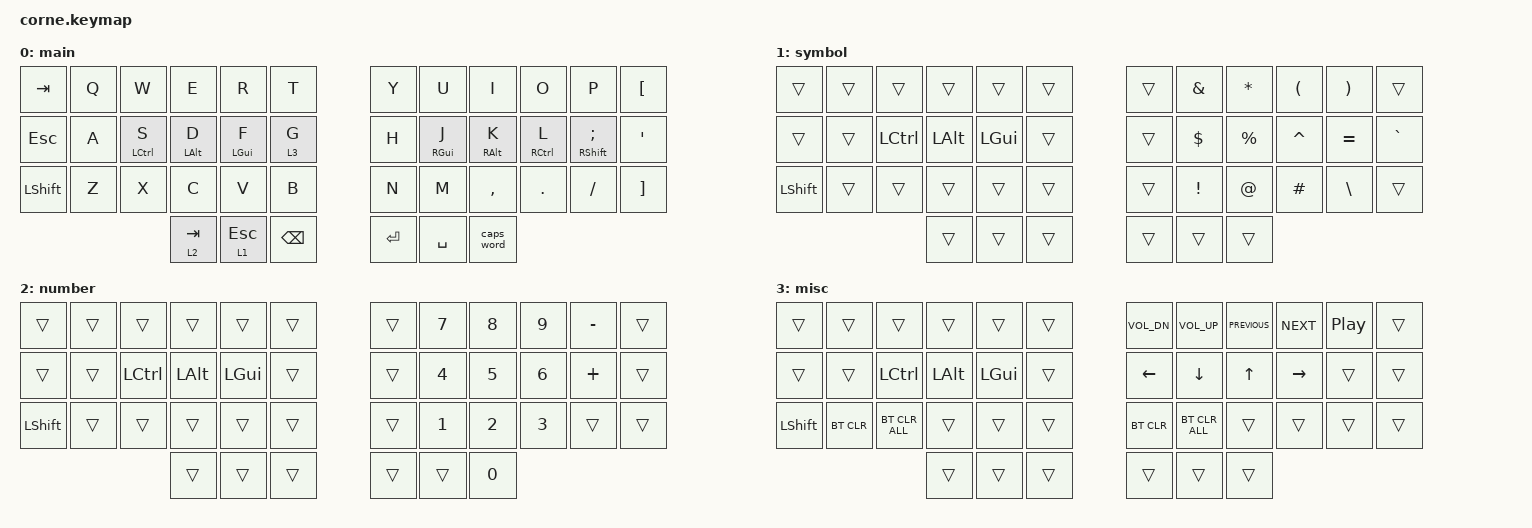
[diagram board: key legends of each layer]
/*
 * Copyright (c) 2020 The ZMK Contributors
 *
 * SPDX-License-Identifier: MIT
 */

#include <behaviors.dtsi>
#include <dt-bindings/zmk/bt.h>
#include <dt-bindings/zmk/keys.h>

&mt {
    flavor = "tap-preferred";
    tapping_term_ms = <200>;
};

/ {
    keymap {
        compatible = "zmk,keymap";

        main {
            bindings = <
&kp TAB    &kp Q  &kp W        &kp E           &kp R         &kp T            &kp Y    &kp U       &kp I       &kp O        &kp P            &kp LEFT_BRACKET
&kp ESC    &kp A  &mt LCTRL S  &mt LALT D      &mt LGUI F    &lt 3 G          &kp H    &mt RGUI J  &mt RALT K  &mt RCTRL L  &mt RSHIFT SEMI  &kp SQT
&kp LSHFT  &kp Z  &kp X        &kp C           &kp V         &kp B            &kp N    &kp M       &kp COMMA   &kp DOT      &kp FSLH         &kp RIGHT_BRACKET
                               &lt 2 TAB       &lt 1 ESC     &kp BACKSPACE    &kp RET  &kp SPACE   &caps_word
            >;
        };

        symbol {
            bindings = <
&trans     &trans  &trans     &trans    &trans    &trans    &trans  &kp AMPERSAND    &kp ASTERISK  &kp LEFT_PARENTHESIS  &kp RIGHT_PARENTHESIS  &trans
&trans     &trans  &kp LCTRL  &kp LALT  &kp LGUI  &trans    &trans  &kp DOLLAR       &kp PERCENT   &kp CARET             &kp EQUAL              &kp GRAVE
&kp LSHFT  &trans  &trans     &trans    &trans    &trans    &trans  &kp EXCLAMATION  &kp AT_SIGN   &kp HASH              &kp BACKSLASH          &trans
                              &trans    &trans    &trans    &trans  &trans           &trans
            >;
        };

        number {
            bindings = <
&trans     &trans  &trans     &trans    &trans    &trans    &trans  &kp N7        &kp N8        &kp N9        &kp MINUS  &trans
&trans     &trans  &kp LCTRL  &kp LALT  &kp LGUI  &trans    &trans  &kp NUMBER_4  &kp N5        &kp NUMBER_6  &kp PLUS   &trans
&kp LSHFT  &trans  &trans     &trans    &trans    &trans    &trans  &kp NUMBER_1  &kp NUMBER_2  &kp NUMBER_3  &trans     &trans
                              &trans    &trans    &trans    &trans  &trans        &kp N0
            >;
        };

        misc {
            bindings = <
&trans      &trans        &trans           &trans         &trans       &trans    &kp C_VOL_DN  &kp C_VOLUME_UP  &kp C_PREVIOUS  &kp C_NEXT  &kp C_PLAY_PAUSE  &trans
&trans      &trans        &kp LCTRL        &kp LALT       &kp LGUI     &trans    &kp LEFT      &kp DOWN         &kp UP_ARROW    &kp RIGHT   &trans            &trans
&kp LSHIFT  &bt BT_CLR    &bt BT_CLR_ALL   &trans          &trans      &trans    &bt BT_CLR    &bt BT_CLR_ALL   &trans          &trans      &trans            &trans
                               &trans    &trans    &trans    &trans        &trans           &trans
            >;
        };
    };
};
